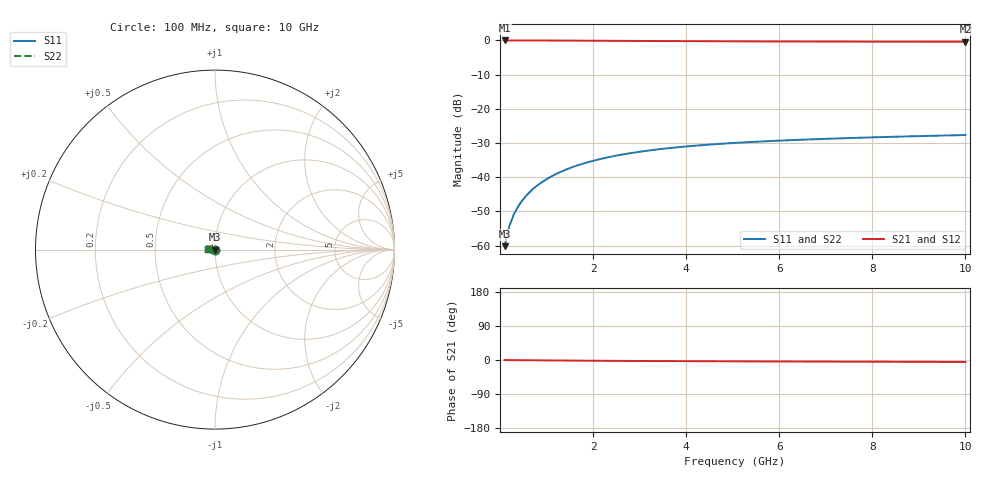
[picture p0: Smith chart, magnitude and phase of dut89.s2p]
! Touchstone file exported from HFSS 2024.1.0
!  File:  C:/UserFiles/LocalFiles/RDL_TSV_Batchsim/temp_TSV1_89_1779375946.aedt
!  Generated:  11:10:51 PM May 21, 2026
!  Design:  TSV1
!  Project:  temp_TSV1_89_1779375946
!  Setup:  Setup1
!  Solution:  Sweep
! Variables:
!  dtsv = 7.58um
!  hbump = 3um
!  htsv = 82.58um
!  lrdl = 252.1521522um
!  p = 40
!  p1 = 42.19um
!  t = 500um
!  trdl = 3um
!  wrdl = 24.89489489um
# GHz S MA R 50.000000
! Terminal data exported
! Port[1] = TSV22_T1
! Port[2] = TSV22_T2
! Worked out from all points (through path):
!   100 points, 100 MHz to 10 GHz, reference 50 ohm
!   highest |S21| = 0.00 dB at 100 MHz (marker M1); lowest = -0.4 dB at 10 GHz (marker M2)
!   lowest |S11| = -60.1 dB at 100 MHz (marker M3), VSWR 1.00, Z = 50 - j0.0957 ohm
!   |S11| at or under -10 dB: start of sweep to end of sweep
!   |S22| runs from -60.1 to -27.7 dB; largest |S21 - S12| = 3.5e-15
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0.1  0.0009836 -76.4  0.9997 -0.1  0.9997 -0.1  0.0009836 -76.4
! Gamma 0 0 0 0
! Port Impedance 50 0 50 0
0.2  0.001932 -85.4  0.9996 -0.2  0.9996 -0.2  0.001932 -85.4
0.3  0.002886 -89.7  0.9995 -0.3  0.9995 -0.3  0.002886 -89.7
0.4  0.003838 -92.6  0.9993 -0.4  0.9993 -0.4  0.003838 -92.6
0.5  0.004784 -95.1  0.999 -0.5  0.999 -0.5  0.004784 -95.1
0.6  0.005721 -97.3  0.9987 -0.7  0.9987 -0.7  0.005721 -97.3
0.7  0.00665 -99.3  0.9983 -0.8  0.9983 -0.8  0.00665 -99.3
0.8  0.007568 -101.2  0.9979 -0.9  0.9979 -0.9  0.007568 -101.2
0.9  0.008474 -103.0  0.9975 -1.0  0.9975 -1.0  0.008474 -103.0
1.1  0.01025 -106.5  0.9965 -1.2  0.9965 -1.2  0.01025 -106.5
1.4  0.01279 -111.4  0.9947 -1.4  0.9947 -1.4  0.01279 -111.4
1.6  0.01439 -114.6  0.9934 -1.6  0.9934 -1.6  0.01439 -114.6
1.8  0.01593 -117.6  0.992 -1.8  0.992 -1.8  0.01593 -117.6
2.1  0.01809 -121.9  0.9898 -2.0  0.9898 -2.0  0.01809 -121.9
2.5  0.02071 -127.3  0.9868 -2.3  0.9868 -2.3  0.02071 -127.3
2.9  0.02305 -132.3  0.9838 -2.6  0.9838 -2.6  0.02305 -132.3
3.4  0.02559 -138.1  0.9802 -2.8  0.9802 -2.8  0.02559 -138.1
4.2  0.02895 -146.3  0.9751 -3.2  0.9751 -3.2  0.02895 -146.3
5.1  0.03193 -154.2  0.9702 -3.6  0.9702 -3.6  0.03193 -154.2
6.7  0.03586 -165.9  0.9638 -4.1  0.9638 -4.1  0.03586 -165.9
8.4  0.03898 -175.9  0.9591 -4.7  0.9591 -4.7  0.03898 -175.9
10  0.04143 176.2  0.956 -5.2  0.956 -5.2  0.04143 176.2
